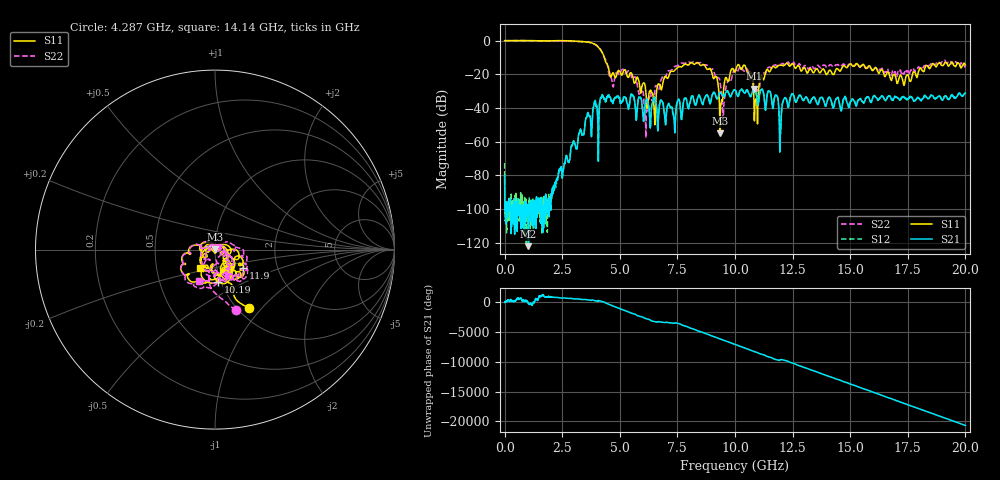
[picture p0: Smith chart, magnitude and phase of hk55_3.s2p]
#  HZ  S  RI  R  50.00
! Rohde & Schwarz Vector Network Analyzer
! Rohde-Schwarz,ZNB20-2Port,1311601062102128,3.60
! Created: UTC 4/29/2024, 3:44:33 PM
! freq[Hz]  re:S11  im:S11  re:S21  im:S21  re:S12  im:S12  re:S22  im:S22
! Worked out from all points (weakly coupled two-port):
!   2007 points, 100 kHz to 20 GHz, reference 50 ohm
!   highest |S21| = -28.54 dB at 10.83 GHz (marker M1); lowest = -122.1 dB at 1.037 GHz (marker M2)
!   lowest |S11| = -55.0 dB at 9.342 GHz (marker M3), VSWR 1.00, Z = 50.1 + j0.157 ohm
!   |S11| at or under -10 dB: 4.327 GHz to end of sweep
!   |S22| runs from -57.6 to 0.1 dB; largest |S21 - S12| = 0.002
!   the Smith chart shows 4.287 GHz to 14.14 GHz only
!   S11 on the Smith chart (normalised r, x): 4.287 GHz: 1.13, -0.86; 10.19 GHz: 0.97, -0.36; 11.9 GHz: 1.34, -0.28; 14.14 GHz: 0.83, -0.17
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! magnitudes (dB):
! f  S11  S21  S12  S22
! 100 kHz  0.0  -80.2  -72.7  0.1
! 1.037 GHz  0.1  -122.1  -101.4  0.0
! 2.233 GHz  0.0  -83.9  -83.2  -0.3
! 3.34 GHz  -0.6  -55.3  -55.0  -0.6
! 4.287 GHz  -8.5  -33.4  -33.5  -8.9
! 4.656 GHz  -20.1  -35.6  -35.6  -23.6
! 5.653 GHz  -25.1  -37.0  -37.0  -21.6
! 6.132 GHz  -30.5  -35.4  -35.4  -57.6
! 6.67 GHz  -25.8  -46.9  -46.9  -28.1
! 8.375 GHz  -13.1  -34.2  -34.2  -13.5
! 9.173 GHz  -21.4  -33.3  -33.3  -22.5
! 9.342 GHz  -55.0  -30.8  -30.8  -23.7
! 9.502 GHz  -29.1  -33.0  -33.0  -42.3
! 10 GHz  -18.6  -29.4  -29.4  -17.5
! 10.19 GHz  -15.0  -30.8  -30.7  -16.2
! 10.83 GHz  -38.5  -28.5  -28.5  -28.3
! 11.79 GHz  -15.9  -32.3  -32.3  -14.7
! 11.9 GHz  -14.6  -40.8  -40.7  -14.4
! 13.34 GHz  -17.9  -34.6  -34.6  -14.9
! 14.14 GHz  -17.7  -34.3  -34.3  -14.3
! 16.67 GHz  -19.1  -32.9  -33.0  -18.9
! 20 GHz  -14.5  -31.1  -31.2  -15.2
